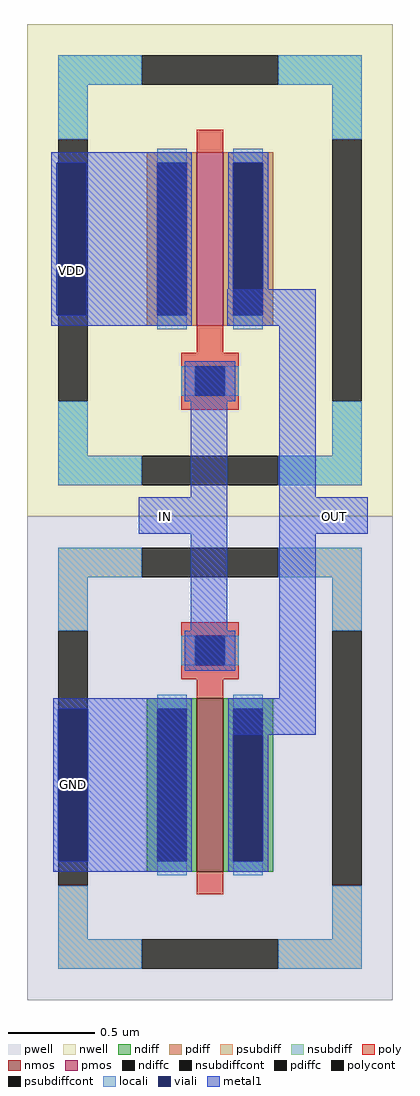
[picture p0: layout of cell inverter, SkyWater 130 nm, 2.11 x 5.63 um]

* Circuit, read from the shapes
.subckt inverter VDD GND IN OUT
XM1 OUT IN GND GND sky130_fd_pr__nfet_01v8 w=1 l=0.15
XM2 OUT IN VDD VDD sky130_fd_pr__pfet_01v8 w=1 l=0.15
.ends

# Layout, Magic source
magic
tech sky130A
magscale 1 2
<< viali >>
rect -19 737 15 913
rect -17 107 17 283
<< metal1 >>
rect -25 913 135 925
rect -25 737 -19 913
rect 15 737 135 913
rect -25 725 135 737
rect 178 725 280 767
rect 136 527 178 684
rect 76 485 178 527
rect 136 328 178 485
rect 238 527 280 725
rect 238 485 340 527
rect 238 295 280 485
rect -23 283 137 295
rect -23 107 -17 283
rect 17 107 137 283
rect 179 253 280 295
rect -23 95 137 107
use sky130_fd_pr__nfet_01v8_64Z3AY  XM1
transform 1 0 158 0 1 226
box -211 -279 211 279
use sky130_fd_pr__pfet_01v8_LGS3BL  XM2
transform 1 0 158 0 1 789
box -211 -284 211 284
<< labels >>
flabel viali -2 789 -2 789 0 FreeSans 160 0 0 0 VDD
port 0 nsew
flabel viali 1 196 1 196 0 FreeSans 160 0 0 0 GND
port 1 nsew
flabel metal1 107 505 107 505 0 FreeSans 160 0 0 0 IN
port 2 nsew
flabel metal1 302 505 302 505 0 FreeSans 160 0 0 0 OUT
port 3 nsew
<< end >>

# cell sky130_fd_pr__nfet_01v8_64Z3AY: kit device sky130_fd_pr__nfet_01v8, w 1.0 l 0.15 m 1 nf 1 diffcov 100 polycov 100 guard 1 glc 1 grc 1 gtc 1 gbc 1 tbcov 100 rlcov 100 topc 1 botc 0 poverlap 0 doverlap 1 lmin 0.15 wmin 0.42 compatible {sky130_fd_pr__nfet_01v8 sky130_fd_pr__nfet_01v8_lvt sky130_fd_bs_flash__special_sonosfet_star sky130_fd_pr__nfet_g5v0d10v5 sky130_fd_pr__nfet_05v0_nvt sky130_fd_pr__nfet_03v3_nvt} full_metal 1 viasrc 100 viadrn 100 viagate 100 viagb 0 viagr 0 viagl 0 viagt 0

# cell sky130_fd_pr__pfet_01v8_LGS3BL: kit device sky130_fd_pr__pfet_01v8, w 1.0 l 0.15 m 1 nf 1 diffcov 100 polycov 100 guard 1 glc 1 grc 1 gtc 1 gbc 1 tbcov 100 rlcov 100 topc 0 botc 1 poverlap 0 doverlap 1 lmin 0.15 wmin 0.42 compatible {sky130_fd_pr__pfet_01v8 sky130_fd_pr__pfet_01v8_lvt sky130_fd_pr__pfet_01v8_hvt sky130_fd_pr__pfet_g5v0d10v5} full_metal 1 viasrc 100 viadrn 100 viagate 100 viagb 0 viagr 0 viagl 0 viagt 0
